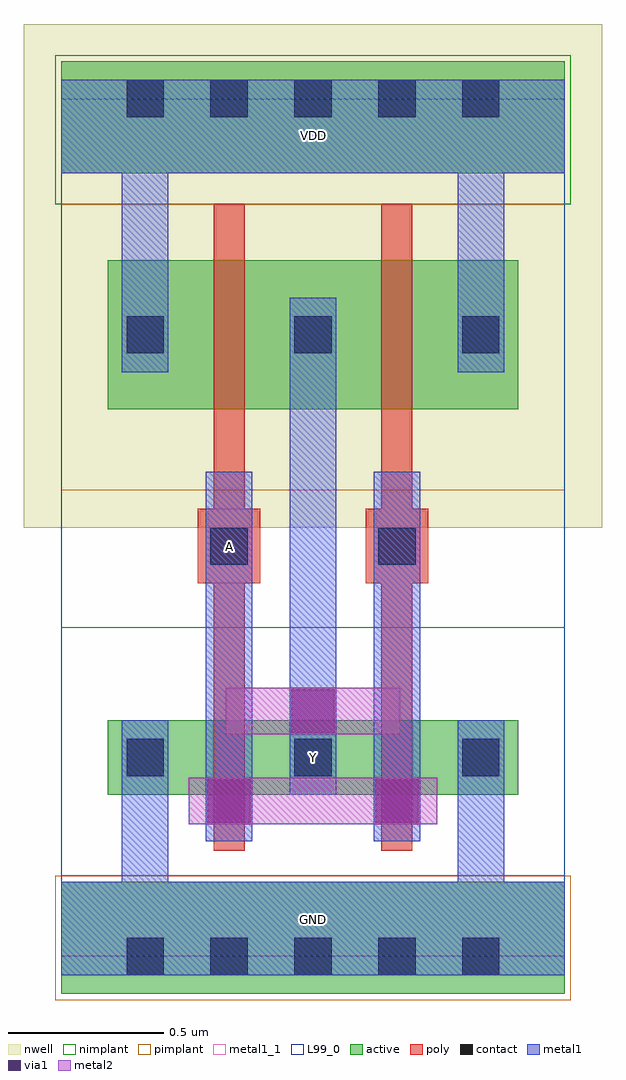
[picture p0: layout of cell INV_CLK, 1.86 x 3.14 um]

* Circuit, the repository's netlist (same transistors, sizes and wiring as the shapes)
.SUBCKT INV_CLK A Y VDD GND
MMN0 Y A GND GND nmos1v w=0.48u l=0.1u
MMP0 Y A VDD VDD pmos1v w=0.96u l=0.1u
.ENDS

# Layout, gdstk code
import gdstk
lib = gdstk.Library(unit=1e-6, precision=5e-10)
def R(c, l, rs):  # rectangles x0, y0, x1, y1
    for r in rs: c.add(gdstk.rectangle(r[:2], r[2:], *l))
def A(c, l, x, y, w, h, nx, ny, dx, dy):  # array of equal rectangles
    R(c, l, [(x+i*dx, y+j*dy, x+i*dx+w, y+j*dy+h) for i in range(nx) for j in range(ny)])
active = (1, 0)
nwell = (2, 0)
poly = (3, 0)
nimplant = (4, 0)
pimplant = (5, 0)
contact = (6, 0)
metal1 = (7, 0)
metal1_1 = (7, 1)
via1 = (8, 0)
metal2 = (9, 0)
L99_0 = (99, 0)

inv_clk = lib.new_cell('INV_CLK')
A(inv_clk, active, 0.15, 0.52, 0.24, 0.24, 3, 1, 0.54, 0)
A(inv_clk, active, 0.15, 1.76, 0.24, 0.48, 3, 1, 0.54, 0)
R(inv_clk, active, [(0,-0.12,1.62,0.24), (0.39,0.52,0.69,0.76), (0.93,0.52,1.23,0.76), (0.39,1.76,0.69,2.24), (0.93,1.76,1.23,2.24), (0,2.52,1.62,2.88)])
R(inv_clk, nwell, [(-0.12,1.38,1.74,3)])
R(inv_clk, poly, [(0.49,0.34,0.59,2.42), (1.03,0.34,1.13,2.42), (0.44,1.2,0.64,1.44), (0.98,1.2,1.18,1.44)])
R(inv_clk, nimplant, [(0,0.26,1.62,1.06), (-0.02,2.42,1.64,2.9)])
R(inv_clk, pimplant, [(-0.02,-0.14,1.64,0.26), (0,1.5,1.62,2.42)])
A(inv_clk, contact, 0.21, -0.06, 0.12, 0.12, 5, 2, 0.27, 2.76)
A(inv_clk, contact, 0.21, 0.58, 0.12, 0.12, 3, 2, 0.54, 1.36)
R(inv_clk, contact, [(0.48,1.26,0.6,1.38), (1.02,1.26,1.14,1.38)])
R(inv_clk, metal1, [(0,-0.06,1.62,0.24), (0.195,0,0.345,0.76), (1.275,0,1.425,0.76), (0.465,0.37,0.615,1.56), (1.005,0.37,1.155,1.56), (0.735,0.52,0.885,2.12), (0.195,1.88,0.345,2.76), (1.275,1.88,1.425,2.76), (0,2.52,1.62,2.82)])
R(inv_clk, metal1_1, [(0,0,1.62,0.24), (0.735,0.52,0.885,0.76), (0.465,1.2,0.615,1.44), (0,2.52,1.62,2.76)])
R(inv_clk, via1, [(0.47,0.43,0.61,0.57), (1.01,0.43,1.15,0.57), (0.74,0.72,0.88,0.86)])
R(inv_clk, metal2, [(0.41,0.425,1.21,0.575), (0.53,0.715,1.09,0.865)])
R(inv_clk, L99_0, [(0,0,1.62,2.76)])
inv_clk.add(gdstk.Label('GND', (0.81,0.12), layer=7, texttype=3))
inv_clk.add(gdstk.Label('VDD', (0.81,2.64), layer=7, texttype=3))
inv_clk.add(gdstk.Label('A', (0.54,1.32), layer=7, texttype=3))
inv_clk.add(gdstk.Label('Y', (0.81,0.64), layer=7, texttype=3))

lib.write_gds('INV_CLK.gds')
